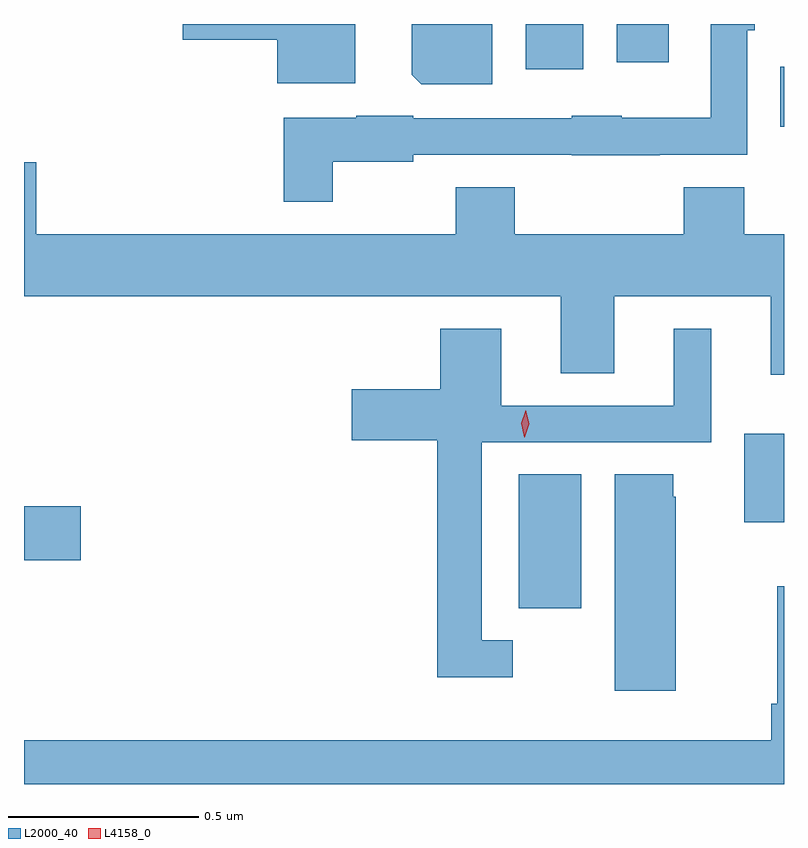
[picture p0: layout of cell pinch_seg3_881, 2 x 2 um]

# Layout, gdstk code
import gdstk
lib = gdstk.Library(unit=1e-6, precision=1e-09)
def R(c, l, rs):  # rectangles x0, y0, x1, y1
    for r in rs: c.add(gdstk.rectangle(r[:2], r[2:], *l))
def P(c, l, *ps):  # polygons
    for p in ps: c.add(gdstk.Polygon(p, *l))
L2000_40 = (2000, 40)
L4158_0 = (4158, 0)

pinch_seg3_881 = lib.new_cell('pinch_seg3_881')
R(pinch_seg3_881, L2000_40, [(681.926,688.107,682.09,688.46), (680.624,688.234,680.773,688.376), (682.52,688.334,682.624,688.567), (682.614,689.375,682.624,689.533), (681.944,689.526,682.096,689.645), (682.184,689.544,682.321,689.645)])
P(pinch_seg3_881, L2000_40, [(681.496,689.645),(681.042,689.645),(681.042,689.603),(681.29,689.603),(681.29,689.489),(681.496,689.489)],
  [(681.856,689.645),(681.644,689.645),(681.644,689.512),(681.67,689.486),(681.856,689.486)],
  [(681.436,689.282),(681.648,689.282),(681.648,689.301),(682.065,689.301),(682.065,689.3),(682.297,689.3),(682.297,689.301),(682.527,689.301),(682.527,689.629),(682.547,689.629),(682.547,689.645),(682.431,689.645),(682.431,689.398),(682.197,689.398),(682.197,689.404),(682.065,689.404),(682.065,689.397),(681.648,689.397),(681.648,689.404),(681.498,689.404),(681.498,689.398),(681.307,689.398),(681.307,689.177),(681.436,689.177)],
  [(682.624,689.092),(682.52,689.092),(682.52,689.216),(682.36,689.216),(682.36,689.092),(681.915,689.092),(681.915,689.216),(681.76,689.216),(681.76,689.092),(680.656,689.092),(680.656,689.281),(680.624,689.281),(680.624,688.928),(682.037,688.928),(682.037,688.726),(682.177,688.726),(682.177,688.928),(682.589,688.928),(682.589,688.722),(682.624,688.722)],
  [(681.91,688.023),(681.828,688.023),(681.828,688.545),(682.432,688.545),(682.432,688.843),(682.334,688.843),(682.334,688.641),(681.88,688.641),(681.88,688.843),(681.719,688.843),(681.719,688.684),(681.486,688.684),(681.486,688.55),(681.712,688.55),(681.712,687.926),(681.91,687.926)],
  [(682.339,688.401),(682.333,688.401),(682.333,688.46),(682.178,688.46),(682.178,687.891),(682.339,687.891)],
  [(682.624,688.165),(682.606,688.165),(682.606,687.856),(682.591,687.856),(682.591,687.76),(680.624,687.76),(680.624,687.645),(682.624,687.645)])
P(pinch_seg3_881, L4158_0, [(681.941,688.557),(681.941,688.557),(681.933,688.594),(681.944,688.629),(681.944,688.629),(681.945,688.629),(681.953,688.593),(681.942,688.557)])

lib.write_gds('pinch_seg3_881.gds')
